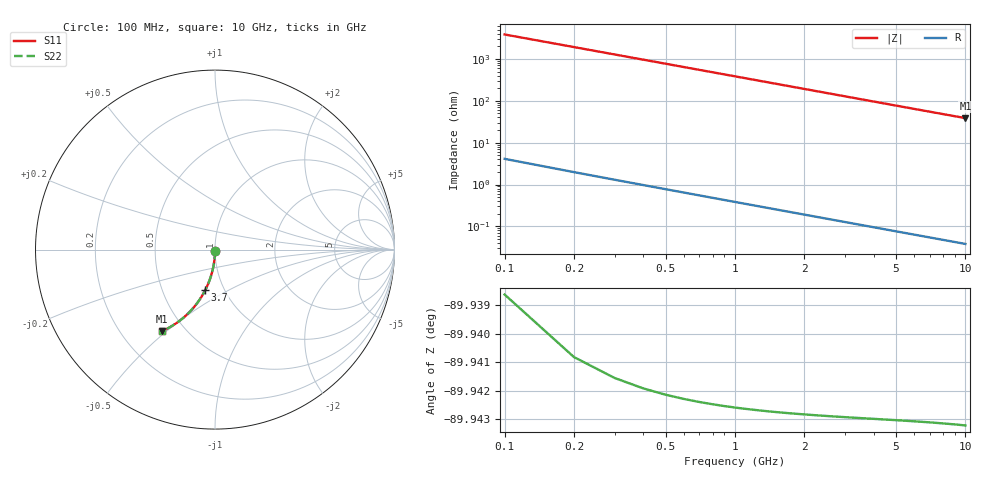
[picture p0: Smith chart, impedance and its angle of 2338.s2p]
# Hz S RI R 50.00
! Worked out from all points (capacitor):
!   100 points, 100 MHz to 10 GHz, reference 50 ohm
!   read as one part in shunt: C = 415 fF near 100 MHz
!   lowest |Z| = 38.5 ohm at 10 GHz (marker M1)
!   S11 on the Smith chart (normalised r, x): 100 MHz: 1.00, -0.01; 3.7 GHz: 0.81, -0.39; 10 GHz: 0.37, -0.48
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1e8  -4.03e-05 -0.00651  0.9999 -0.00653  0.9999 -0.00653  -4.03e-05 -0.00651
2e8  -0.000174 -0.013  0.9998 -0.0131  0.9998 -0.0131  -0.000174 -0.013
3e8  -0.000393 -0.0195  0.9996 -0.0196  0.9996 -0.0196  -0.000393 -0.0195
4e8  -0.000697 -0.026  0.9993 -0.0261  0.9993 -0.0261  -0.000697 -0.026
5e8  -0.00108 -0.0325  0.9989 -0.0326  0.9989 -0.0326  -0.00108 -0.0325
6e8  -0.00156 -0.039  0.9984 -0.0391  0.9984 -0.0391  -0.00156 -0.039
7e8  -0.00211 -0.0455  0.9979 -0.0456  0.9979 -0.0456  -0.00211 -0.0455
8e8  -0.00276 -0.0519  0.9972 -0.0521  0.9972 -0.0521  -0.00276 -0.0519
9e8  -0.00348 -0.0584  0.9965 -0.0586  0.9965 -0.0586  -0.00348 -0.0584
1.1e9  -0.00518 -0.0712  0.9948 -0.0715  0.9948 -0.0715  -0.00518 -0.0712
1.4e9  -0.00834 -0.0903  0.9916 -0.0907  0.9916 -0.0907  -0.00834 -0.0903
1.8e9  -0.0137 -0.1155  0.9863 -0.1159  0.9863 -0.1159  -0.0137 -0.1155
2.1e9  -0.0185 -0.134  0.9815 -0.1346  0.9815 -0.1346  -0.0185 -0.134
2.5e9  -0.026 -0.1583  0.974 -0.1589  0.974 -0.1589  -0.026 -0.1583
2.9e9  -0.0346 -0.182  0.9654 -0.1827  0.9654 -0.1827  -0.0346 -0.182
3.4e9  -0.0469 -0.2106  0.953 -0.2114  0.953 -0.2114  -0.0469 -0.2106
3.7e9  -0.0551 -0.2272  0.9449 -0.2281  0.9449 -0.2281  -0.0551 -0.2272
4.4e9  -0.0761 -0.2641  0.9239 -0.2652  0.9239 -0.2652  -0.0761 -0.2641
5.1e9  -0.0995 -0.2982  0.9005 -0.2994  0.9005 -0.2994  -0.0995 -0.2982
6.7e9  -0.1598 -0.3651  0.8402 -0.3668  0.8402 -0.3668  -0.1598 -0.3651
8.4e9  -0.2298 -0.4192  0.7702 -0.4212  0.7702 -0.4212  -0.2298 -0.4192
1e10  -0.2967 -0.4551  0.7032 -0.4576  0.7032 -0.4576  -0.2967 -0.4551
